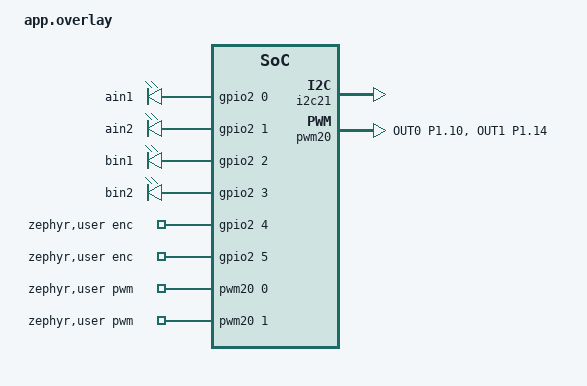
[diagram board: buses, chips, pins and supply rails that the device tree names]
/* Qwiic(J5) I2C : IMU(MPU-6050, 0x68), PMIC (보드 기본값은 disabled) */

&i2c21 {
	status = "okay";
};

/*
 * 모터 PWM : PWM20 은 P1 포트 핀에서만 동작한다.
 *   OUT0 → P1.10 (LED2 핀) → TB6612 PWMA
 *   OUT1 → P1.14 (LED4 핀) → TB6612 PWMB
 */
&pinctrl {
	pwm20_default: pwm20_default {
		group1 {
			psels = <NRF_PSEL(PWM_OUT0, 1, 10)>,
				<NRF_PSEL(PWM_OUT1, 1, 14)>;
		};
	};

	pwm20_sleep: pwm20_sleep {
		group1 {
			psels = <NRF_PSEL(PWM_OUT0, 1, 10)>,
				<NRF_PSEL(PWM_OUT1, 1, 14)>;
			low-power-enable;
		};
	};
};

&pwm20 {
	status = "okay";
	pinctrl-0 = <&pwm20_default>;
	pinctrl-1 = <&pwm20_sleep>;
	pinctrl-names = "default", "sleep";
};

/*
 * 모터 방향 핀 (헤더 P2). STBY 는 3.3 V 에 고정.
 *   AIN1 P2.00, AIN2 P2.01, BIN1 P2.02, BIN2 P2.03
 */
/ {
	motor {
		compatible = "gpio-leds";

		ain1: ain1 {
			gpios = <&gpio2 0 GPIO_ACTIVE_HIGH>;
		};
		ain2: ain2 {
			gpios = <&gpio2 1 GPIO_ACTIVE_HIGH>;
		};
		bin1: bin1 {
			gpios = <&gpio2 2 GPIO_ACTIVE_HIGH>;
		};
		bin2: bin2 {
			gpios = <&gpio2 3 GPIO_ACTIVE_HIGH>;
		};
	};

	zephyr,user {
		/* 엔코더 (모터 A) : 노랑 = P2.04 (A), 초록 = P2.05 (B). 엔코더 전원은 3.3 V */
		enc-gpios = <&gpio2 4 GPIO_PULL_UP>, <&gpio2 5 GPIO_PULL_UP>;
		pwms = <&pwm20 0 PWM_USEC(50) PWM_POLARITY_NORMAL>,
		       <&pwm20 1 PWM_USEC(50) PWM_POLARITY_NORMAL>;
	};
};
